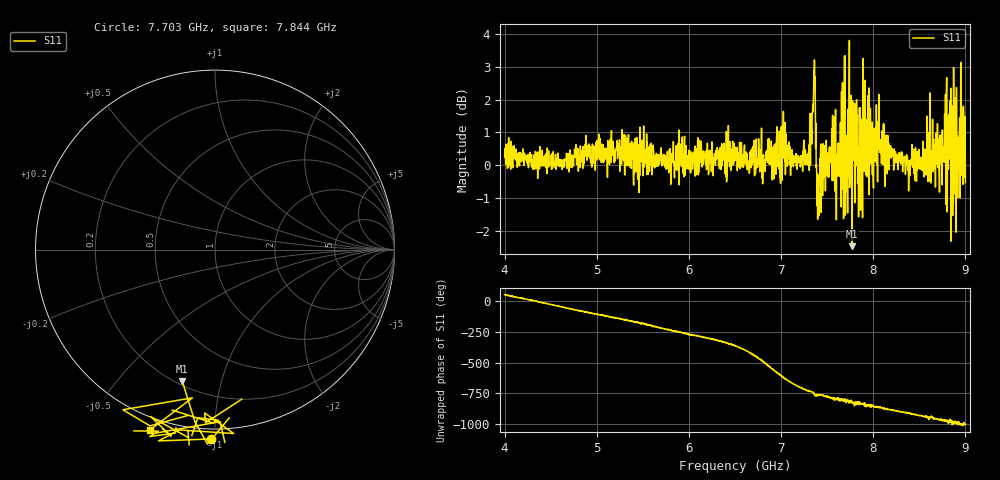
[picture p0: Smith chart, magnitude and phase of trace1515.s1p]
! Created with skrf 1.8.0 (http://scikit-rf.org).
# Hz S RI R 50.0
!freq ReS11 ImS11
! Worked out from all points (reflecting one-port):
!   1601 points, 4 GHz to 9 GHz, reference 50 ohm
!   lowest |S11| = -2.5 dB at 7.772 GHz (marker M1), VSWR 7.12, Z = 11.2 - j37.8 ohm
!   phase of S11 starts at 51 deg and turns -1052 deg over the sweep
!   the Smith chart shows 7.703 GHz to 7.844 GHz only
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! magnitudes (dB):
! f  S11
! 4 GHz  0.3
! 4.625 GHz  -0.1
! 5.25 GHz  -0.2
! 5.875 GHz  0.3
! 6.5 GHz  0.3
! 6.816 GHz  0.1
! 7.038 GHz  0.2
! 7.125 GHz  0.1
! 7.294 GHz  0.2
! 7.347 GHz  1.6
! 7.362 GHz  3.2
! 7.397 GHz  -1.6
! 7.412 GHz  -0.7
! 7.553 GHz  -0.1
! 7.622 GHz  -0.1
! 7.669 GHz  2.0
! 7.722 GHz  -1.4
! 7.75 GHz  -0.4
! 7.772 GHz  -2.5
! 7.962 GHz  1.4
! 7.981 GHz  0.0
! 8.05 GHz  1.3
! 8.375 GHz  -0.1
! 8.766 GHz  0.6
! 8.816 GHz  -0.1
! 8.875 GHz  1.1
! 8.972 GHz  0.0
! 9 GHz  -0.5
